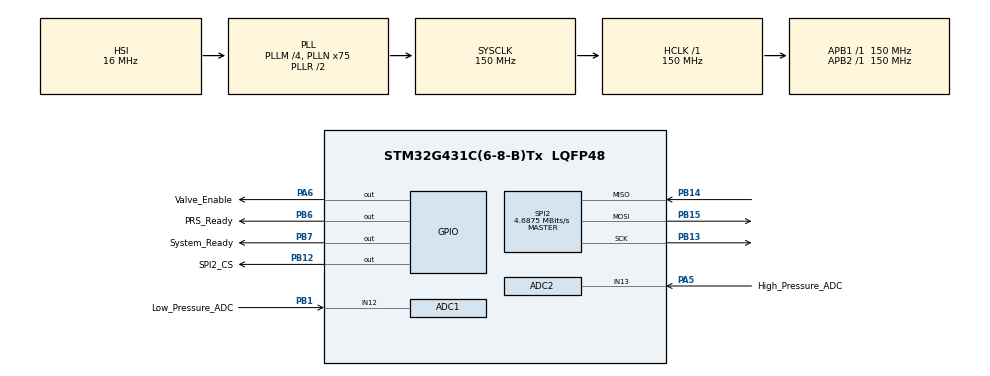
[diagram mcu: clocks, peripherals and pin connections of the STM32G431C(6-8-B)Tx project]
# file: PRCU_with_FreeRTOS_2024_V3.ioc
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ADC1.Channel-1\#ChannelRegularConversion=ADC_CHANNEL_12
ADC1.NbrOfConversionFlag=1
ADC1.OffsetNumber-1\#ChannelRegularConversion=ADC_OFFSET_NONE
ADC1.Rank-1\#ChannelRegularConversion=1
ADC1.SamplingTime-1\#ChannelRegularConversion=ADC_SAMPLETIME_47CYCLES_5
ADC1.master=1
ADC2.Channel-1\#ChannelRegularConversion=ADC_CHANNEL_13
ADC2.NbrOfConversionFlag=1
ADC2.OffsetNumber-1\#ChannelRegularConversion=ADC_OFFSET_NONE
ADC2.Rank-1\#ChannelRegularConversion=1
ADC2.SamplingTime-1\#ChannelRegularConversion=ADC_SAMPLETIME_47CYCLES_5
FREERTOS.Tasks01=task_read_senso,24,128,Start_task_read_sensors,Default,NULL,Dynamic,NULL,NULL;task_LED_Blink,16,128,Start_task_LED_Blink,Default,NULL,Dynamic,NULL,NULL;task_safety,32,128,Start_task_safety,Default,NULL,Dynamic,NULL,NULL
FREERTOS.configUSE_NEWLIB_REENTRANT=1
Mcu.Family=STM32G4
Mcu.Name=STM32G431C(6-8-B)Tx
Mcu.Package=LQFP48
NVIC.PriorityGroup=NVIC_PRIORITYGROUP_4
NVIC.TIM6_DAC_IRQn=true\:15\:0\:false\:false\:true\:false\:false\:true\:true
NVIC.TimeBase=TIM6_DAC_IRQn
NVIC.TimeBaseIP=TIM6
PA13.Mode=Trace_Asynchronous_SW
PA13.Signal=SYS_JTMS-SWDIO
PA14.Mode=Trace_Asynchronous_SW
PA14.Signal=SYS_JTCK-SWCLK
PA5.GPIO_Label=High_Pressure_ADC
PA5.Mode=IN13-Single-Ended
PA5.Signal=ADC2_IN13
PA6.GPIO_Label=Valve_Enable
PA6.GPIO_PuPd=GPIO_PULLDOWN
PA6.PinState=GPIO_PIN_SET
PA6.Signal=GPIO_Output
PB1.GPIO_Label=Low_Pressure_ADC
PB1.Mode=IN12-Single-Ended
PB1.Signal=ADC1_IN12
PB12.GPIO_Label=SPI2_CS
PB12.GPIO_PuPd=GPIO_PULLUP
PB12.PinState=GPIO_PIN_SET
PB12.Signal=GPIO_Output
PB13.GPIO_Speed=GPIO_SPEED_FREQ_HIGH
PB13.Mode=Full_Duplex_Master
PB13.Signal=SPI2_SCK
PB14.GPIO_Speed=GPIO_SPEED_FREQ_HIGH
PB14.Mode=Full_Duplex_Master
PB14.Signal=SPI2_MISO
PB15.GPIO_Speed=GPIO_SPEED_FREQ_HIGH
PB15.Mode=Full_Duplex_Master
PB15.Signal=SPI2_MOSI
PB3.Mode=Trace_Asynchronous_SW
PB3.Signal=SYS_JTDO-SWO
PB6.GPIO_Label=PRS_Ready
PB6.GPIO_PuPd=GPIO_PULLDOWN
PB6.PinState=GPIO_PIN_SET
PB6.Signal=GPIO_Output
PB7.GPIO_Label=System_Ready
PB7.GPIO_PuPd=GPIO_PULLDOWN
PB7.PinState=GPIO_PIN_SET
PB7.Signal=GPIO_Output
ProjectManager.HeapSize=0x200
ProjectManager.StackSize=0x400
ProjectManager.TargetToolchain=STM32CubeIDE
RCC.ADC12Freq_Value=150000000
RCC.AHBFreq_Value=150000000
RCC.APB1Freq_Value=150000000
RCC.APB1TimFreq_Value=150000000
RCC.APB2Freq_Value=150000000
RCC.APB2TimFreq_Value=150000000
RCC.CortexFreq_Value=150000000
RCC.EXTERNAL_CLOCK_VALUE=12288000
RCC.HCLKFreq_Value=150000000
RCC.HSE_VALUE=8000000
RCC.HSI48_VALUE=48000000
RCC.HSI_VALUE=16000000
RCC.LSE_VALUE=32768
RCC.PLLM=RCC_PLLM_DIV4
RCC.PLLN=75
RCC.SYSCLKFreq_VALUE=150000000
RCC.SYSCLKSource=RCC_SYSCLKSOURCE_PLLCLK
RCC.USBFreq_Value=150000000
RCC.VCOOutputFreq_Value=300000000
SPI2.BaudRatePrescaler=SPI_BAUDRATEPRESCALER_32
SPI2.CLKPhase=SPI_PHASE_2EDGE
SPI2.CalculateBaudRate=4.6875 MBits/s
SPI2.DataSize=SPI_DATASIZE_16BIT
SPI2.Direction=SPI_DIRECTION_2LINES
SPI2.Mode=SPI_MODE_MASTER
SPI2.VirtualType=VM_MASTER
VP_FREERTOS_VS_CMSIS_V2.Mode=CMSIS_V2
VP_SYS_VS_DBSignals.Mode=DisableDeadBatterySignals
VP_SYS_VS_tim6.Mode=TIM6
board=custom

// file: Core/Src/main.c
/* USER CODE BEGIN Header */
/**
  ******************************************************************************
  * @file           : main.c
  * @brief          : Main program body
  ******************************************************************************
  * @attention
  *
  * Copyright (c) 2024 STMicroelectronics.
  * All rights reserved.
  *
  * This software is licensed under terms that can be found in the LICENSE file
  * in the root directory of this software component.
  * If no LICENSE file comes with this software, it is provided AS-IS.
  *
  ******************************************************************************
  */
/* USER CODE END Header */
#include "main.h"
#include "cmsis_os.h"

/* USER CODE BEGIN Includes */
#include <stdio.h>
/* USER CODE END Includes */

ADC_HandleTypeDef hadc1;
ADC_HandleTypeDef hadc2;

SPI_HandleTypeDef hspi2;

/* Definitions for task_read_senso */
osThreadId_t task_read_sensoHandle;
const osThreadAttr_t task_read_senso_attributes = {
  .name = "task_read_senso",
  .priority = (osPriority_t) osPriorityNormal,
  .stack_size = 128 * 4
};
/* Definitions for task_LED_Blink */
osThreadId_t task_LED_BlinkHandle;
const osThreadAttr_t task_LED_Blink_attributes = {
  .name = "task_LED_Blink",
  .priority = (osPriority_t) osPriorityBelowNormal,
  .stack_size = 128 * 4
};
/* Definitions for task_safety */
osThreadId_t task_safetyHandle;
const osThreadAttr_t task_safety_attributes = {
  .name = "task_safety",
  .priority = (osPriority_t) osPriorityAboveNormal,
  .stack_size = 128 * 4
};
/* USER CODE BEGIN PV */

// Define ADC variables
int high_pressure; // high pressure sensor reading (Bar)
int low_pressure; // low pressure sensor reading (mBar)

// Define pod pressure variables
float pod_pressure; // pod pressure (Bar)
const float offs_p = -545.6; // Transfer function parameter (see page 8 of KP264 data sheet) (LSB/kPa)
const float S_p = 13.64; // Transfer function parameter (see page 8 of KP264 data sheet) (LSB)

// Define pod pressure sensor (KP264 on PCB) commands
// The reset bit for all commands is currently set to 0 (see page 17 of KP264 data sheet)
const uint16_t request_pressure = 0b0010000000000000;
const uint16_t request_temperature = 0b0100000000000000;
const uint16_t request_diagnosis = 0b1000000000000000;
const uint16_t request_identifier = 0b1110000000000000;

// Define pod pressure sensor (KP264 on PCB) bit masks
const uint16_t data_mask = 0b0000011111111110;
const uint16_t com_error_mask = 0b0000000000000001;
const uint16_t FEC_error_mask = 0b1000000000000000;
const uint16_t Diag1_mask = 0b0100000000000000;
const uint16_t Diag2_mask = 0b0010000000000000;
const uint16_t pressure_over_max_mask = 0b0001000000000000;
const uint16_t pressure_under_min_mask = 0b0000100000000000;
const uint16_t no_error_mask = 0b0101000000000000;

// Define state machine variables
enum state{Reset, Idle, Active, Emergency}; // Possible states that state machine can be in
//USE NUMBERS FROM BIANCA FOR RESET, IDLE ACTIVE AND EMERGENCY!!!!!!!!!!!!!!!
enum state next_state = Reset; // Places the PRCU in Reset upon startup
enum state current_state;	// Initialize current_state variable

/* USER CODE END PV */

void SystemClock_Config(void);
static void MX_GPIO_Init(void);
static void MX_ADC1_Init(void);
static void MX_ADC2_Init(void);
static void MX_SPI2_Init(void);
void Start_task_read_sensors(void *argument);
void Start_task_LED_Blink(void *argument);
void Start_task_safety(void *argument);

/* USER CODE BEGIN 0 */
int _write(int file, char *ptr, int len)
 {
	 int DataIdx;
	 for (DataIdx = 0; DataIdx < len; DataIdx++)
	 {
		 ITM_SendChar(*ptr++);
	 }
	 return len;
 }
/* USER CODE END 0 */

int main(void)
{

  /* MCU Configuration--------------------------------------------------------*/

  /* Reset of all peripherals, Initializes the Flash interface and the Systick. */
  HAL_Init();

  /* Configure the system clock */
  SystemClock_Config();

  /* Initialize all configured peripherals */
  MX_GPIO_Init();
  MX_ADC1_Init();
  MX_ADC2_Init();
  MX_SPI2_Init();
  /* USER CODE BEGIN 2 */

  // Calibrate ADCs
  HAL_ADCEx_Calibration_Start(&hadc1, ADC_SINGLE_ENDED); // Calibrates ADC for low pressure sensor
  HAL_ADCEx_Calibration_Start(&hadc2, ADC_SINGLE_ENDED); // Calibrates ADC for high pressure sensor

  // Pull SPI chip select line high
  HAL_GPIO_WritePin(GPIOB, SPI2_CS_Pin, GPIO_PIN_SET);

  /* USER CODE END 2 */

  /* Init scheduler */
  osKernelInitialize();

  /* Create the thread(s) */
  /* creation of task_read_senso */
  task_read_sensoHandle = osThreadNew(Start_task_read_sensors, NULL, &task_read_senso_attributes);

  /* creation of task_LED_Blink */
  task_LED_BlinkHandle = osThreadNew(Start_task_LED_Blink, NULL, &task_LED_Blink_attributes);

  /* creation of task_safety */
  task_safetyHandle = osThreadNew(Start_task_safety, NULL, &task_safety_attributes);

  /* Start scheduler */
  osKernelStart();

  /* We should never get here as control is now taken by the scheduler */

  /* Infinite loop */
  while (1)
  {

  }
}

void SystemClock_Config(void)
{
  RCC_OscInitTypeDef RCC_OscInitStruct = {0};
  RCC_ClkInitTypeDef RCC_ClkInitStruct = {0};

  /** Configure the main internal regulator output voltage
  */
  HAL_PWREx_ControlVoltageScaling(PWR_REGULATOR_VOLTAGE_SCALE1);

  /** Initializes the RCC Oscillators according to the specified parameters
  * in the RCC_OscInitTypeDef structure.
  */
  RCC_OscInitStruct.OscillatorType = RCC_OSCILLATORTYPE_HSI;
  RCC_OscInitStruct.HSIState = RCC_HSI_ON;
  RCC_OscInitStruct.HSICalibrationValue = RCC_HSICALIBRATION_DEFAULT;
  RCC_OscInitStruct.PLL.PLLState = RCC_PLL_ON;
  RCC_OscInitStruct.PLL.PLLSource = RCC_PLLSOURCE_HSI;
  RCC_OscInitStruct.PLL.PLLM = RCC_PLLM_DIV4;
  RCC_OscInitStruct.PLL.PLLN = 75;
  RCC_OscInitStruct.PLL.PLLP = RCC_PLLP_DIV2;
  RCC_OscInitStruct.PLL.PLLQ = RCC_PLLQ_DIV2;
  RCC_OscInitStruct.PLL.PLLR = RCC_PLLR_DIV2;
  if (HAL_RCC_OscConfig(&RCC_OscInitStruct) != HAL_OK)
  {
    Error_Handler();
  }

  /** Initializes the CPU, AHB and APB buses clocks
  */
  RCC_ClkInitStruct.ClockType = RCC_CLOCKTYPE_HCLK|RCC_CLOCKTYPE_SYSCLK
                              |RCC_CLOCKTYPE_PCLK1|RCC_CLOCKTYPE_PCLK2;
  RCC_ClkInitStruct.SYSCLKSource = RCC_SYSCLKSOURCE_PLLCLK;
  RCC_ClkInitStruct.AHBCLKDivider = RCC_SYSCLK_DIV1;
  RCC_ClkInitStruct.APB1CLKDivider = RCC_HCLK_DIV1;
  RCC_ClkInitStruct.APB2CLKDivider = RCC_HCLK_DIV1;

  if (HAL_RCC_ClockConfig(&RCC_ClkInitStruct, FLASH_LATENCY_4) != HAL_OK)
  {
    Error_Handler();
  }
}

static void MX_ADC1_Init(void)
{

  ADC_MultiModeTypeDef multimode = {0};
  ADC_ChannelConfTypeDef sConfig = {0};

  /** Common config
  */
  hadc1.Instance = ADC1;
  hadc1.Init.ClockPrescaler = ADC_CLOCK_SYNC_PCLK_DIV4;
  hadc1.Init.Resolution = ADC_RESOLUTION_12B;
  hadc1.Init.DataAlign = ADC_DATAALIGN_RIGHT;
  hadc1.Init.GainCompensation = 0;
  hadc1.Init.ScanConvMode = ADC_SCAN_DISABLE;
  hadc1.Init.EOCSelection = ADC_EOC_SINGLE_CONV;
  hadc1.Init.LowPowerAutoWait = DISABLE;
  hadc1.Init.ContinuousConvMode = DISABLE;
  hadc1.Init.NbrOfConversion = 1;
  hadc1.Init.DiscontinuousConvMode = DISABLE;
  hadc1.Init.ExternalTrigConv = ADC_SOFTWARE_START;
  hadc1.Init.ExternalTrigConvEdge = ADC_EXTERNALTRIGCONVEDGE_NONE;
  hadc1.Init.DMAContinuousRequests = DISABLE;
  hadc1.Init.Overrun = ADC_OVR_DATA_PRESERVED;
  hadc1.Init.OversamplingMode = DISABLE;
  if (HAL_ADC_Init(&hadc1) != HAL_OK)
  {
    Error_Handler();
  }

  /** Configure the ADC multi-mode
  */
  multimode.Mode = ADC_MODE_INDEPENDENT;
  if (HAL_ADCEx_MultiModeConfigChannel(&hadc1, &multimode) != HAL_OK)
  {
    Error_Handler();
  }

  /** Configure Regular Channel
  */
  sConfig.Channel = ADC_CHANNEL_12;
  sConfig.Rank = ADC_REGULAR_RANK_1;
  sConfig.SamplingTime = ADC_SAMPLETIME_47CYCLES_5;
  sConfig.SingleDiff = ADC_SINGLE_ENDED;
  sConfig.OffsetNumber = ADC_OFFSET_NONE;
  sConfig.Offset = 0;
  if (HAL_ADC_ConfigChannel(&hadc1, &sConfig) != HAL_OK)
  {
    Error_Handler();
  }

}

static void MX_ADC2_Init(void)
{

  ADC_ChannelConfTypeDef sConfig = {0};

  /** Common config
  */
  hadc2.Instance = ADC2;
  hadc2.Init.ClockPrescaler = ADC_CLOCK_SYNC_PCLK_DIV4;
  hadc2.Init.Resolution = ADC_RESOLUTION_12B;
  hadc2.Init.DataAlign = ADC_DATAALIGN_RIGHT;
  hadc2.Init.GainCompensation = 0;
  hadc2.Init.ScanConvMode = ADC_SCAN_DISABLE;
  hadc2.Init.EOCSelection = ADC_EOC_SINGLE_CONV;
  hadc2.Init.LowPowerAutoWait = DISABLE;
  hadc2.Init.ContinuousConvMode = DISABLE;
  hadc2.Init.NbrOfConversion = 1;
  hadc2.Init.DiscontinuousConvMode = DISABLE;
  hadc2.Init.ExternalTrigConv = ADC_SOFTWARE_START;
  hadc2.Init.ExternalTrigConvEdge = ADC_EXTERNALTRIGCONVEDGE_NONE;
  hadc2.Init.DMAContinuousRequests = DISABLE;
  hadc2.Init.Overrun = ADC_OVR_DATA_PRESERVED;
  hadc2.Init.OversamplingMode = DISABLE;
  if (HAL_ADC_Init(&hadc2) != HAL_OK)
  {
    Error_Handler();
  }

  /** Configure Regular Channel
  */
  sConfig.Channel = ADC_CHANNEL_13;
  sConfig.Rank = ADC_REGULAR_RANK_1;
  sConfig.SamplingTime = ADC_SAMPLETIME_47CYCLES_5;
  sConfig.SingleDiff = ADC_SINGLE_ENDED;
  sConfig.OffsetNumber = ADC_OFFSET_NONE;
  sConfig.Offset = 0;
  if (HAL_ADC_ConfigChannel(&hadc2, &sConfig) != HAL_OK)
  {
    Error_Handler();
  }

}

static void MX_SPI2_Init(void)
{

  /* SPI2 parameter configuration*/
  hspi2.Instance = SPI2;
  hspi2.Init.Mode = SPI_MODE_MASTER;
  hspi2.Init.Direction = SPI_DIRECTION_2LINES;
  hspi2.Init.DataSize = SPI_DATASIZE_16BIT;
  hspi2.Init.CLKPolarity = SPI_POLARITY_LOW;
  hspi2.Init.CLKPhase = SPI_PHASE_2EDGE;
  hspi2.Init.NSS = SPI_NSS_SOFT;
  hspi2.Init.BaudRatePrescaler = SPI_BAUDRATEPRESCALER_32;
  hspi2.Init.FirstBit = SPI_FIRSTBIT_MSB;
  hspi2.Init.TIMode = SPI_TIMODE_DISABLE;
  hspi2.Init.CRCCalculation = SPI_CRCCALCULATION_DISABLE;
  hspi2.Init.CRCPolynomial = 7;
  hspi2.Init.CRCLength = SPI_CRC_LENGTH_DATASIZE;
  hspi2.Init.NSSPMode = SPI_NSS_PULSE_DISABLE;
  if (HAL_SPI_Init(&hspi2) != HAL_OK)
  {
    Error_Handler();
  }

}

static void MX_GPIO_Init(void)
{
  GPIO_InitTypeDef GPIO_InitStruct = {0};

  /* GPIO Ports Clock Enable */
  __HAL_RCC_GPIOA_CLK_ENABLE();
  __HAL_RCC_GPIOB_CLK_ENABLE();

  /*Configure GPIO pin Output Level */
  HAL_GPIO_WritePin(Valve_Enable_GPIO_Port, Valve_Enable_Pin, GPIO_PIN_SET);

  /*Configure GPIO pin Output Level */
  HAL_GPIO_WritePin(GPIOB, SPI2_CS_Pin|PRS_Ready_Pin|System_Ready_Pin, GPIO_PIN_SET);

  /*Configure GPIO pin : Valve_Enable_Pin */
  GPIO_InitStruct.Pin = Valve_Enable_Pin;
  GPIO_InitStruct.Mode = GPIO_MODE_OUTPUT_PP;
  GPIO_InitStruct.Pull = GPIO_PULLDOWN;
  GPIO_InitStruct.Speed = GPIO_SPEED_FREQ_LOW;
  HAL_GPIO_Init(Valve_Enable_GPIO_Port, &GPIO_InitStruct);

  /*Configure GPIO pin : SPI2_CS_Pin */
  GPIO_InitStruct.Pin = SPI2_CS_Pin;
  GPIO_InitStruct.Mode = GPIO_MODE_OUTPUT_PP;
  GPIO_InitStruct.Pull = GPIO_PULLUP;
  GPIO_InitStruct.Speed = GPIO_SPEED_FREQ_LOW;
  HAL_GPIO_Init(SPI2_CS_GPIO_Port, &GPIO_InitStruct);

  /*Configure GPIO pins : PRS_Ready_Pin System_Ready_Pin */
  GPIO_InitStruct.Pin = PRS_Ready_Pin|System_Ready_Pin;
  GPIO_InitStruct.Mode = GPIO_MODE_OUTPUT_PP;
  GPIO_InitStruct.Pull = GPIO_PULLDOWN;
  GPIO_InitStruct.Speed = GPIO_SPEED_FREQ_LOW;
  HAL_GPIO_Init(GPIOB, &GPIO_InitStruct);

}

void Start_task_read_sensors(void *argument)
{
  /* USER CODE BEGIN 5 */
  /* Infinite loop */
  for(;;)
  {
	  // Define ADC variables
	  uint16_t high_pressure_raw; // High pressure ADC raw data (0 to 4095)
	  int high_pressure_voltage; // High pressure ADC voltage reading (0 to VREF)
	  uint16_t low_pressure_raw; // Low pressure ADC raw data (0 to 4095)
	  int low_pressure_voltage; // Low pressure ADC voltage reading (0 to VREF)

	  // Define pod pressure sensor (KP264 on PCB) variables
	  uint16_t SPI_buffer; // Buffer to hold SPI data from pod pressure sensor

	  // BEGIN Read high pressure ADC ----------------------------------------------------------------------------------------------
	  HAL_ADC_Start(&hadc2); // Start the ADC
	  HAL_ADC_PollForConversion(&hadc2, 1); // Wait for ADC to complete conversion
	  high_pressure_raw = HAL_ADC_GetValue(&hadc2); // Get value from ADC
	  // Use mV instead of V to avoid using floats (because printf wouldn't let me use floats)
	  high_pressure_voltage = (int) high_pressure_raw * 3300 / 4095; // Convert ADC reading to mV
	  if (high_pressure_voltage <= 120 * 0.004 * 1000) { // Check that the ADC is not outputting 4 mA or less (sensor minimum output)
		  high_pressure = 0; // Bar
	  }
	  else {
		  high_pressure = (high_pressure_voltage - 120 * 0.004 * 1000)* 250 / (120 * (0.02 - 0.004) * 1000); // Bar
	  }
	  // END Read high pressure ADC ------------------------------------------------------------------------------------------------

	  // BEGIN Read low pressure ADC -----------------------------------------------------------------------------------------------
	  HAL_ADC_Start(&hadc1); // Start the ADC
	  HAL_ADC_PollForConversion(&hadc1, 1); // Wait for ADC to complete conversion
	  low_pressure_raw = HAL_ADC_GetValue(&hadc1); // Get value from ADC
	  // Use mV instead of V to avoid using floats (because printf wouldn't let me use floats)
	  low_pressure_voltage = (int) low_pressure_raw * 3300 / (4095); // Convert ADC reading to mV
	  if (low_pressure_voltage <= 120 * 0.004 * 1000) { // Check that the ADC is not outputting 4 mA or less (sensor minimum output)
		  low_pressure = 0; // mBar
	  }
	  else {
		  low_pressure = ((float) low_pressure_voltage - 120 * 0.004 * 1000) * 10000 / (120 * (0.02 - 0.004) * 1000); // mBar
	  }
	  // END Read low pressure ADC -------------------------------------------------------------------------------------------------

	  // BEGIN Read pod pressure sensor (KP264 on PCB) -----------------------------------------------------------------------------
	  HAL_GPIO_WritePin(GPIOB, SPI2_CS_Pin, GPIO_PIN_RESET); // Pull SPI chip select line low to begin communication
	  if (HAL_SPI_TransmitReceive(&hspi2, (uint8_t*) &request_pressure, (uint8_t*) &SPI_buffer, 1, 100) != HAL_OK) {
		  pod_pressure = 22;
	  }
	  HAL_GPIO_WritePin(GPIOB, SPI2_CS_Pin, GPIO_PIN_SET); // Pull SPI chip select line high to end communication
	  // Check if no errors were detected
	  if ((SPI_buffer & no_error_mask) == no_error_mask) {
		  // Get the pressure data using a bit mask and right shift operator to get rid of parity bit
		  SPI_buffer = (SPI_buffer & data_mask) >> 1;
		  // Convert pressure from LSB to Bar using transfer function from data sheet
		  pod_pressure = ((float)SPI_buffer - offs_p)/S_p; // Bar
	  }
	  // END Read pod pressure sensor (KP264 on PCB) -------------------------------------------------------------------------------

	  osDelay(100); // Put task to sleep so that other tasks can run
  }
  /* USER CODE END 5 */
}

void Start_task_LED_Blink(void *argument)
{
  /* USER CODE BEGIN Start_task_LED_Blink */
  /* Infinite loop */
  for(;;)
  {
		switch (current_state) {
		case Reset:
			// PRS LED always off when in Reset state
			HAL_GPIO_WritePin(GPIOB, PRS_Ready_Pin, RESET);
			osDelay(100);
			break;
		case Idle:
			// PRS LED slow blink when in Idle state
			HAL_GPIO_WritePin(GPIOB, PRS_Ready_Pin, SET);
			osDelay(500);
			HAL_GPIO_WritePin(GPIOB, PRS_Ready_Pin, RESET);
			osDelay(500);
			break;
		case Active:
			// PRS LED always on when in Active state
			HAL_GPIO_WritePin(GPIOB, PRS_Ready_Pin, SET);
			osDelay(100);
			break;
		case Emergency:
			// PRS LED fast blink when in Emergency state
			HAL_GPIO_WritePin(GPIOB, PRS_Ready_Pin, SET);
			osDelay(100);
			HAL_GPIO_WritePin(GPIOB, PRS_Ready_Pin, RESET);
			osDelay(100);
			break;
		}

		HAL_GPIO_WritePin(Valve_Enable_GPIO_Port, Valve_Enable_Pin, SET);
		osDelay(100);
		HAL_GPIO_WritePin(Valve_Enable_GPIO_Port, Valve_Enable_Pin, RESET);
		osDelay(100);
  }
  /* USER CODE END Start_task_LED_Blink */
}

void Start_task_safety(void *argument)
{
  /* USER CODE BEGIN Start_task_safety */
  /* Infinite loop */
  for(;;)
  {
		switch (next_state) {
		case Reset:
			current_state = Reset;
			break;
		case Idle:
			current_state = Idle;
			break;
		case Active:
			current_state = Active;
			break;
		case Emergency:
			current_state = Emergency;
			break;
		}

		osDelay(100); // put task to sleep so that other tasks can run
  }
  /* USER CODE END Start_task_safety */
}

void HAL_TIM_PeriodElapsedCallback(TIM_HandleTypeDef *htim)
{
  if (htim->Instance == TIM6) {
    HAL_IncTick();
  }
}

void Error_Handler(void)
{
  __disable_irq();
  while (1)
  {
  }
}

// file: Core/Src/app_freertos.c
/* USER CODE BEGIN Header */
/**
  ******************************************************************************
  * File Name          : app_freertos.c
  * Description        : Code for freertos applications
  ******************************************************************************
  * @attention
  *
  * Copyright (c) 2024 STMicroelectronics.
  * All rights reserved.
  *
  * This software is licensed under terms that can be found in the LICENSE file
  * in the root directory of this software component.
  * If no LICENSE file comes with this software, it is provided AS-IS.
  *
  ******************************************************************************
  */
/* USER CODE END Header */

#include "FreeRTOS.h"
#include "task.h"
#include "main.h"

/* Hook prototypes */
void vApplicationMallocFailedHook(void);

/* USER CODE BEGIN 5 */
void vApplicationMallocFailedHook(void)
{
   /* vApplicationMallocFailedHook() will only be called if
   configUSE_MALLOC_FAILED_HOOK is set to 1 in FreeRTOSConfig.h. It is a hook
   function that will get called if a call to pvPortMalloc() fails.
   pvPortMalloc() is called internally by the kernel whenever a task, queue,
   timer or semaphore is created. It is also called by various parts of the
   demo application. If heap_1.c or heap_2.c are used, then the size of the
   heap available to pvPortMalloc() is defined by configTOTAL_HEAP_SIZE in
   FreeRTOSConfig.h, and the xPortGetFreeHeapSize() API function can be used
   to query the size of free heap space that remains (although it does not
   provide information on how the remaining heap might be fragmented). */
}
/* USER CODE END 5 */
